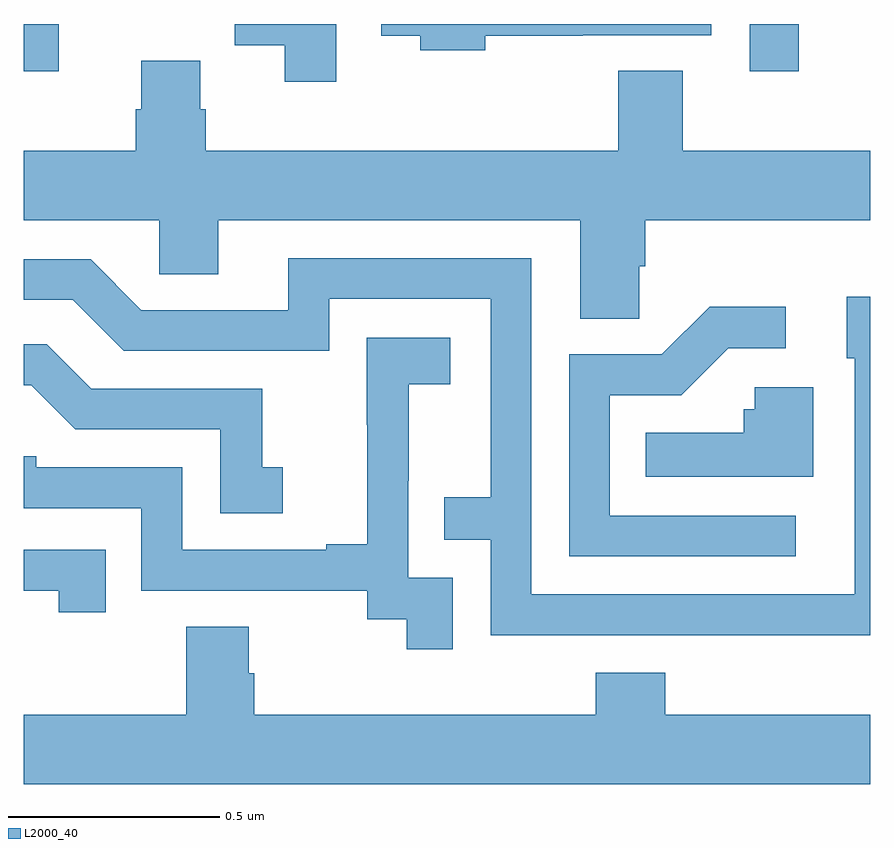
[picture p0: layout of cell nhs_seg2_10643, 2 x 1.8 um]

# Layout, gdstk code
import gdstk
lib = gdstk.Library(unit=1e-6, precision=1e-09)
def R(c, l, rs):  # rectangles x0, y0, x1, y1
    for r in rs: c.add(gdstk.rectangle(r[:2], r[2:], *l))
def P(c, l, *ps):  # polygons
    for p in ps: c.add(gdstk.Polygon(p, *l))
L2000_40 = (2000, 40)

nhs_seg2_10643 = lib.new_cell('nhs_seg2_10643')
R(nhs_seg2_10643, L2000_40, [(244,614.688,244.083,614.8), (245.715,614.688,245.831,614.8)])
P(nhs_seg2_10643, L2000_40, [(245.09,614.772),(245.321,614.772),(245.321,614.774),(245.625,614.774),(245.625,614.8),(244.845,614.8),(244.845,614.772),(244.937,614.772),(244.937,614.738),(245.09,614.738)],
  [(244.738,614.8),(244.499,614.8),(244.499,614.75),(244.616,614.75),(244.616,614.664),(244.738,614.664)],
  [(245.454,614.227),(245.468,614.227),(245.468,614.336),(246,614.336),(246,614.5),(245.557,614.5),(245.557,614.689),(245.405,614.689),(245.405,614.5),(244.43,614.5),(244.43,614.598),(244.417,614.598),(244.417,614.713),(244.277,614.713),(244.277,614.598),(244.265,614.598),(244.265,614.5),(244,614.5),(244,614.336),(244.32,614.336),(244.32,614.209),(244.459,614.209),(244.459,614.336),(245.315,614.336),(245.315,614.104),(245.454,614.104)],
  [(246,614.155),(245.945,614.155),(245.945,614.01),(245.964,614.01),(245.964,613.676),(245.963,613.676),(245.963,613.452),(245.199,613.452),(245.199,614.247),(244.625,614.247),(244.625,614.124),(244.278,614.124),(244.158,614.244),(244,614.244),(244,614.148),(244.116,614.148),(244.236,614.028),(244.722,614.028),(244.722,614.151),(245.103,614.151),(245.103,613.682),(244.993,613.682),(244.993,613.581),(245.103,613.581),(245.103,613.356),(245.599,613.356),(245.599,613.355),(246,613.355)],
  [(245.824,613.638),(245.385,613.638),(245.385,613.923),(245.554,613.923),(245.665,614.034),(245.8,614.034),(245.8,614.132),(245.621,614.132),(245.508,614.019),(245.289,614.019),(245.289,613.542),(245.824,613.542)],
  [(245.013,613.491),(244.908,613.491),(244.908,613.721),(244.91,613.721),(244.91,613.949),(245.008,613.949),(245.008,614.059),(244.81,614.059),(244.81,613.853),(244.811,613.853),(244.811,613.57),(244.715,613.57),(244.715,613.557),(244.374,613.557),(244.374,613.752),(244.029,613.752),(244.029,613.779),(244,613.779),(244,613.656),(244.278,613.656),(244.278,613.461),(244.812,613.461),(244.812,613.393),(244.905,613.393),(244.905,613.323),(245.013,613.323)],
  [(244.612,613.753),(244.563,613.753),(244.563,613.938),(244.159,613.938),(244.054,614.043),(244,614.043),(244,613.946),(244.018,613.946),(244.122,613.842),(244.464,613.842),(244.464,613.644),(244.612,613.644)],
  [(245.866,613.942),(245.727,613.942),(245.727,613.89),(245.701,613.89),(245.701,613.834),(245.47,613.834),(245.47,613.73),(245.866,613.73)],
  [(244.193,613.557),(244,613.557),(244,613.461),(244.082,613.461),(244.082,613.41),(244.193,613.41)],
  [(246,613.168),(245.516,613.168),(245.516,613.267),(245.351,613.267),(245.351,613.168),(244.544,613.168),(244.544,613.266),(244.531,613.266),(244.531,613.376),(244.384,613.376),(244.384,613.168),(244,613.168),(244,613.004),(246,613.004)])

lib.write_gds('nhs_seg2_10643.gds')
